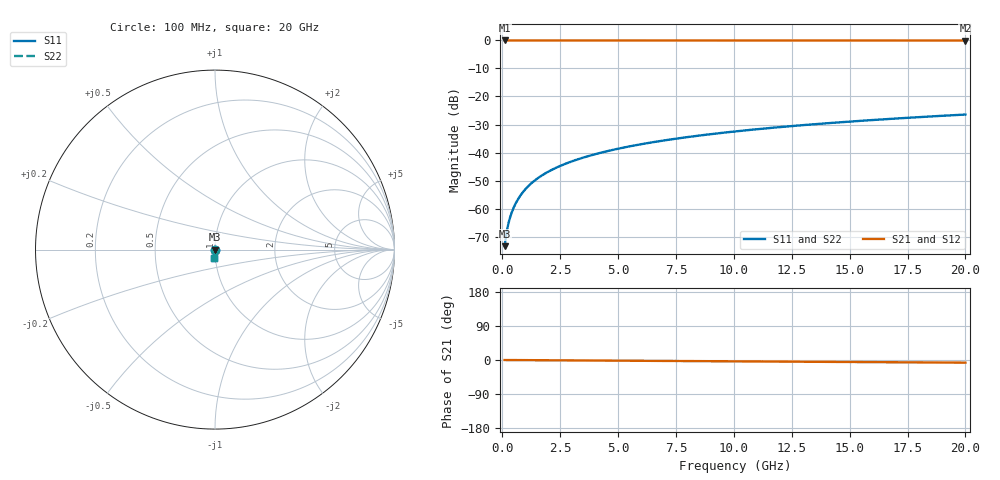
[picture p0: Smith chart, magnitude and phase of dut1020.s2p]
! Touchstone file exported from HFSS 2026.1.0
!  File:  C:/ffzhzh/LocalFiles/Ansys_Project_Files/temp_train_TSV_1020_1783188840_18472.aedt
!  Generated:  02:15:21 AM Jul  5, 2026
!  Design:  TSV
!  Project:  temp_train_TSV_1020_1783188840_18472
! Variables:
!  h_bsmrdl = 2um
!  h_ox = 20um
!  h_rdl = 5um
!  h_sub = 65.93um
!  h_tmrdl = 5um
!  h_tsv = 65.93um
!  h_via = 3um
!  l_bsmrdl = 300um
!  l_sub = 427.26um
!  l_tmrdl = 200um
!  m_sub = 200um
!  pitch = 38.78um
!  r_tsv = 13.63um
!  s_tmrdl = 10um
!  w_bsmrdl = 18um
!  w_sub = 500um
!  w_tmrdl = 12um
!  x_tsv_center1 = 206um
!  x_tsv_center2 = 524um
!  x_tsv_center3 = 736um
!  x_tsv_center4 = 1054um
!  x_tsv_center5 = 1266um
!  x_tsv_center6 = 1584um
# GHz S MA R 50.000000
! Terminal data exported
! Port[1] = TSV1_1_T1
! Port[2] = TSV1_1_T2
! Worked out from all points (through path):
!   200 points, 100 MHz to 20 GHz, reference 50 ohm
!   highest |S21| = 0.00 dB at 100 MHz (marker M1); lowest = 0.0 dB at 20 GHz (marker M2)
!   lowest |S11| = -73.4 dB at 100 MHz (marker M3), VSWR 1.00, Z = 50 - j0.0199 ohm
!   |S11| at or under -10 dB: start of sweep to end of sweep
!   |S22| runs from -73.4 to -26.4 dB; largest |S21 - S12| = 3.8e-15
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0.1  0.000213 -69.0  0.9999 -0.0  0.9999 -0.0  0.000213 -69.0
! Gamma 0 0 0 0
! Port Impedance 50 0 50 0
0.2  0.0004112 -77.4  0.9999 -0.1  0.9999 -0.1  0.0004112 -77.4
0.3  0.0006194 -80.0  0.9999 -0.1  0.9999 -0.1  0.0006194 -80.0
0.4  0.0008355 -81.1  0.9999 -0.1  0.9999 -0.1  0.0008355 -81.1
0.5  0.001058 -81.8  0.9998 -0.2  0.9998 -0.2  0.001058 -81.8
0.7  0.001516 -82.9  0.9998 -0.3  0.9998 -0.3  0.001516 -82.9
0.8  0.001749 -83.3  0.9998 -0.3  0.9998 -0.3  0.001749 -83.3
1  0.00222 -84.1  0.9998 -0.4  0.9998 -0.4  0.00222 -84.1
1.2  0.002692 -84.8  0.9997 -0.4  0.9997 -0.4  0.002692 -84.8
1.4  0.003165 -85.4  0.9997 -0.5  0.9997 -0.5  0.003165 -85.4
1.7  0.003874 -86.1  0.9997 -0.6  0.9997 -0.6  0.003874 -86.1
2  0.004582 -86.6  0.9997 -0.7  0.9997 -0.7  0.004582 -86.6
2.7  0.006235 -87.6  0.9996 -1.0  0.9996 -1.0  0.006235 -87.6
3.5  0.008127 -88.3  0.9996 -1.2  0.9996 -1.2  0.008127 -88.3
4.2  0.009787 -88.8  0.9995 -1.5  0.9995 -1.5  0.009787 -88.8
5  0.01169 -89.3  0.9994 -1.8  0.9994 -1.8  0.01169 -89.3
6.8  0.01599 -90.3  0.9993 -2.4  0.9993 -2.4  0.01599 -90.3
8.3  0.01958 -91.0  0.9992 -2.9  0.9992 -2.9  0.01958 -91.0
10.1  0.02389 -91.8  0.999 -3.6  0.999 -3.6  0.02389 -91.8
13.4  0.0318 -93.2  0.9987 -4.7  0.9987 -4.7  0.0318 -93.2
16.7  0.03972 -94.5  0.9983 -5.9  0.9983 -5.9  0.03972 -94.5
20  0.04762 -95.8  0.9979 -7.0  0.9979 -7.0  0.04762 -95.8
